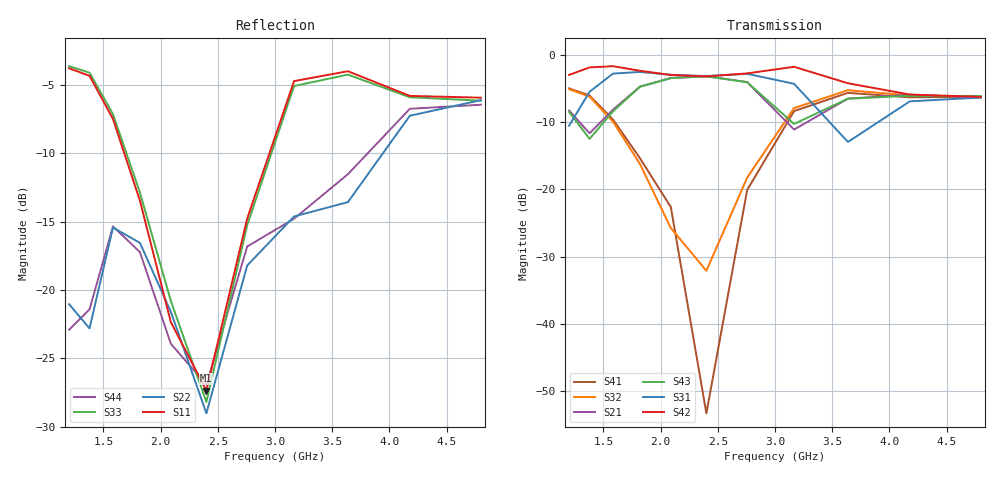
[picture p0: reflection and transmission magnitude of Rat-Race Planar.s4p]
! Generated by circuitRF - EM: Full-wave planar
! circuitRF-EM setup: Rat-Race Planar
! circuitRF-EM layout: Rat-Race/layout/Rat-Race.clay
! circuitRF-EM written: 2026-11-15 22:38:21Z
! circuitRF-EM stamp: 20261115T223821Z-fea84b88
! circuitRF-EM geometry: ee293fb54d4f5e11
! circuitRF-EM mesh settings: 160092dd3dfb76a4
! circuitRF-EM ports: 615a97949109b01c
! circuitRF-EM mesh unknowns: 8340
! circuitRF-EM model: grounded-edge-port-2026-10-14
! Port[1] = 1
! Port[2] = 2
! Port[3] = 3
! Port[4] = 4
! circuitRF-EM port 1: '1' at (26553.251, 12121.653 um), edge, de-embedded, 50 Ohm
! circuitRF-EM port 2: '2' at (6592.813, 12121.653 um), edge, de-embedded, 50 Ohm
! circuitRF-EM port 3: '3' at (46513.689, 12121.653 um), edge, de-embedded, 50 Ohm
! circuitRF-EM port 4: '4' at (45456.009, -12121.653 um), edge, de-embedded, 50 Ohm
! circuitRF-EM: port N of this file is the label named on the 'port N' line above. A circuit that composes this result binds its nets in that order; two ports of a reciprocal part swapped gives a plausible curve of a different structure.
! Port 1 = P01  1  net=n5  ref=ground  calibrated
! Port 2 = P02  2  net=n6  ref=ground  calibrated
! Port 3 = P03  3  net=n7  ref=ground  calibrated
! Port 4 = P04  4  net=n8  ref=ground  calibrated
! DC: none, the lowest row is 1.2 GHz; a circuit's DC solve through this file takes that row as DC
! circuitRF-EM: re-running the EM setup rewrites this file. If circuitRF reports it as stale, the layout's cross-section changed after this file was written.
# GHz S RI R 50
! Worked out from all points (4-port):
!   11 points, 1.2 GHz to 4.8 GHz, reference 50 ohm
!   strongest paths, dB at 1.2 GHz, 1.583 GHz, 2.4 GHz, 3.638 GHz, 4.8 GHz:
!     S42: -2.9, -1.6, -3.2, -4.2, -6.2
!     S31: -10.5, -2.7, -3.1, -12.9, -6.3
!     S43: -8.4, -8.4, -3.2, -6.5, -6.1
!     S21: -8.2, -8.1, -3.1, -6.5, -6.3
!     S32: -5.1, -9.9, -32.1, -5.2, -6.2
!     S41: -4.9, -9.6, -53.3, -5.6, -6.2
!   lowest |S11| = -27.4 dB at 2.4 GHz (marker M1), VSWR 1.09, Z = 54 - j2.03 ohm
!   |S11| at or under -10 dB: 1.683 GHz to 2.951 GHz (1.268 GHz wide, 54.7 % of centre)
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1.2  0.152 0.6301  -0.00232 -0.3873  0.2522 -0.1597  -0.5541 -0.114
     -0.00232 -0.3873  0.0737 0.0494  -0.5442 -0.1212  -0.6071 -0.3743
     0.2522 -0.1597  -0.5442 -0.1212  0.1782 0.6354  -0.033 -0.3767
     -0.5541 -0.114  -0.6071 -0.3743  -0.033 -0.3767  0.0674 0.0237
2.089321  0.0253 -0.0719  -0.3254 -0.5921  -0.426 -0.5735  0.0421 0.0608
          -0.3254 -0.5921  0.066 0.0507  0.0316 0.0408  0.2762 0.656
          -0.426 -0.5735  0.0316 0.0408  0.00729 -0.091  -0.3493 -0.5775
          0.0421 0.0608  0.2762 0.656  -0.3493 -0.5775  0.0573 0.0275
2.4  0.0385 -0.0188  -0.6123 -0.3326  -0.6148 -0.3326  0.000953 0.00193
     -0.6123 -0.3326  0.02 -0.0291  -0.0238 -0.00721  0.6268 0.2991
     -0.6148 -0.3326  -0.0238 -0.00721  0.0196 -0.0336  -0.6279 -0.2996
     0.000953 0.00193  0.6268 0.2991  -0.6279 -0.2996  -0.00715 -0.0444
2.756876  0.1034 -0.1506  -0.6193 0.1157  -0.7253 0.0387  -0.0992 -0.000147
          -0.6193 0.1157  -0.1086 -0.0576  -0.122 0.0115  0.673 -0.2871
          -0.7253 0.0387  -0.122 0.0115  0.065 -0.16  -0.6109 0.1475
          -0.0992 -0.000147  0.673 -0.2871  -0.6109 0.1475  -0.1364 -0.047
3.166819  -0.3808 -0.44  -0.1964 0.1985  -0.3041 0.5311  -0.1781 0.3395
          -0.1964 0.1985  -0.1287 0.1341  -0.1934 0.3545  0.00672 -0.8192
          -0.3041 0.5311  -0.1934 0.3545  -0.4098 -0.3791  -0.2158 0.2194
          -0.1781 0.3395  0.00672 -0.8192  -0.2158 0.2194  -0.1337 0.124
3.63772  -0.505 0.3805  -0.4009 0.2548  -0.1777 0.1395  0.4951 0.1719
         -0.4009 0.2548  -0.2091 0.0168  0.5068 0.2093  -0.5975 -0.1565
         -0.1777 0.1395  0.5068 0.2093  -0.4725 0.3929  -0.3503 0.3194
         0.4951 0.1719  -0.5975 -0.1565  -0.3503 0.3194  -0.2555 0.0723
4.8  0.2135 0.4588  0.2398 0.4192  0.238 0.4211  -0.3221 -0.3685
     0.2398 0.4192  0.2395 0.4336  -0.3111 -0.3787  0.2858 0.3966
     0.238 0.4211  -0.3111 -0.3787  0.2362 0.4332  0.2904 0.402
     -0.3221 -0.3685  0.2858 0.3966  0.2904 0.402  0.2811 0.3851
